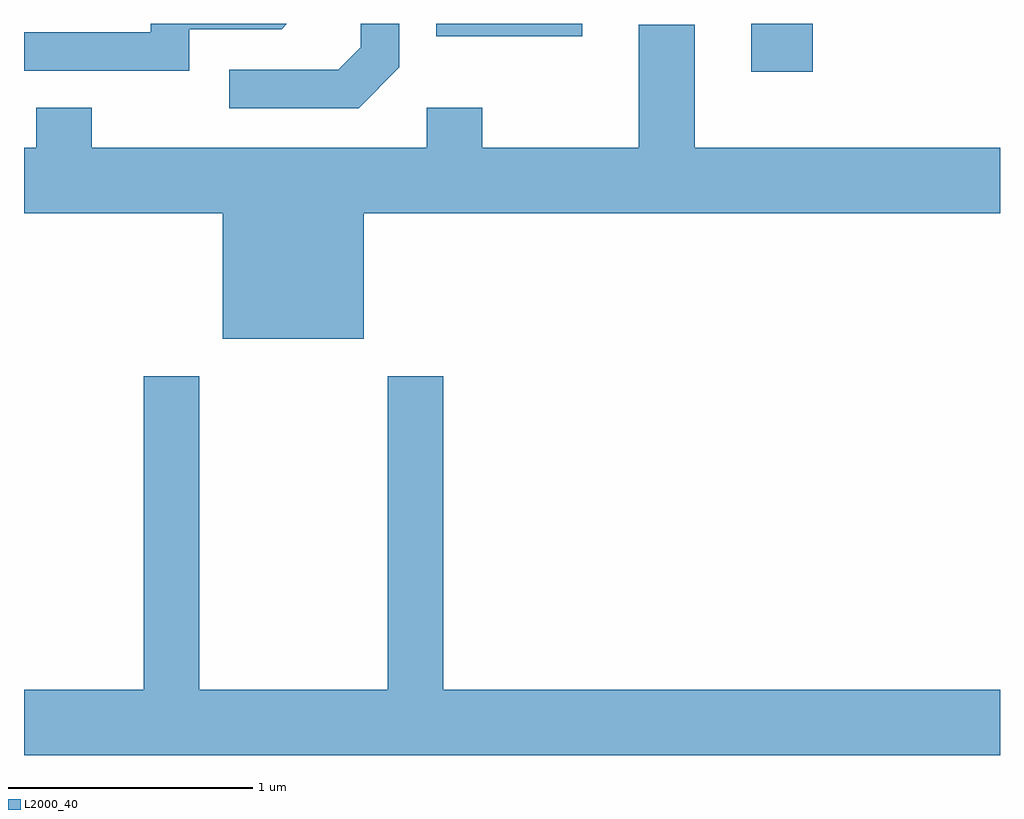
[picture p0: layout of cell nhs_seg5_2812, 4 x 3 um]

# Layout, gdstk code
import gdstk
lib = gdstk.Library(unit=1e-6, precision=1e-09)
def R(c, l, rs):  # rectangles x0, y0, x1, y1
    for r in rs: c.add(gdstk.rectangle(r[:2], r[2:], *l))
def P(c, l, *ps):  # polygons
    for p in ps: c.add(gdstk.Polygon(p, *l))
L2000_40 = (2000, 40)

nhs_seg5_2812 = lib.new_cell('nhs_seg5_2812')
R(nhs_seg5_2812, L2000_40, [(272.591,1401.876,272.844,1402.072), (271.301,1402.021,271.899,1402.072)])
P(nhs_seg5_2812, L2000_40, [(270.289,1402.051),(270.667,1402.051),(270.688,1402.072),(270.131,1402.072),(270.131,1402.039),(269.611,1402.039),(269.611,1401.881),(270.289,1401.881)],
  [(271.149,1401.894),(271.149,1402.072),(270.991,1402.072),(270.991,1401.977),(270.899,1401.884),(270.453,1401.884),(270.453,1401.726),(270.982,1401.726)],
  [(271.004,1401.296),(273.611,1401.296),(273.611,1401.564),(272.359,1401.564),(272.359,1402.069),(272.131,1402.069),(272.131,1401.564),(271.489,1401.564),(271.489,1401.729),(271.261,1401.729),(271.261,1401.564),(269.889,1401.564),(269.889,1401.729),(269.661,1401.729),(269.661,1401.564),(269.611,1401.564),(269.611,1401.296),(270.426,1401.296),(270.426,1400.781),(271.004,1400.781)],
  [(273.611,1399.344),(271.329,1399.344),(271.329,1400.629),(271.101,1400.629),(271.101,1399.344),(270.329,1399.344),(270.329,1400.629),(270.101,1400.629),(270.101,1399.344),(269.611,1399.344),(269.611,1399.076),(273.611,1399.076)])

lib.write_gds('nhs_seg5_2812.gds')
